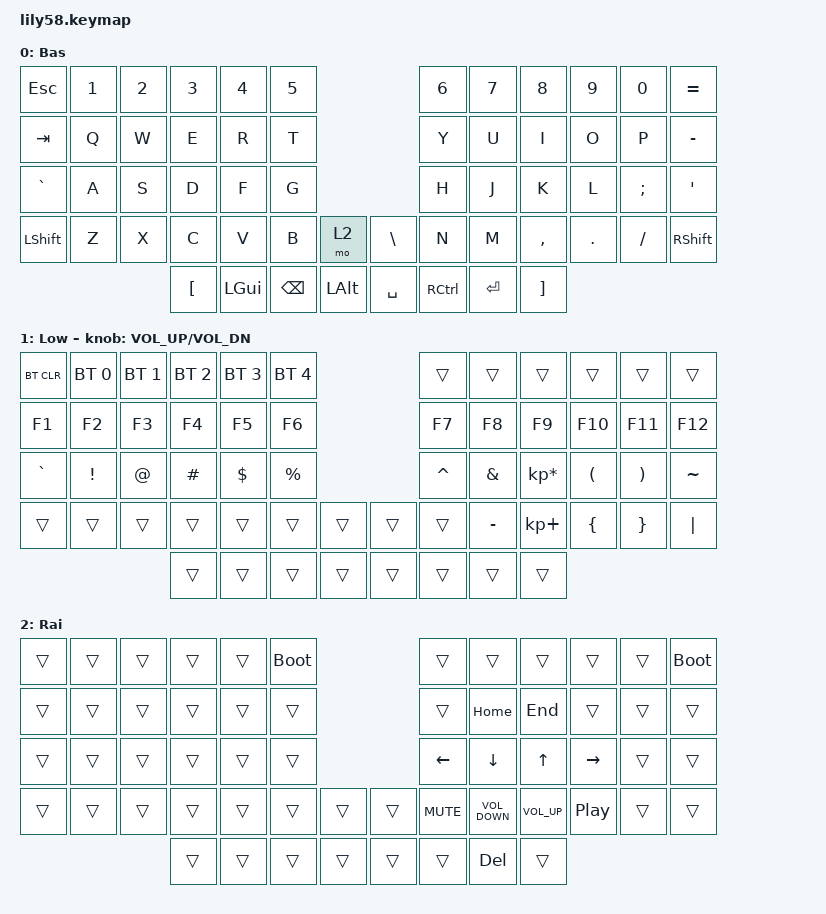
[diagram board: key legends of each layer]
/*
 * Copyright (c) 2020 The ZMK Contributors
 *
 * SPDX-License-Identifier: MIT
 */

#include <behaviors.dtsi>
#include <dt-bindings/zmk/bt.h>
#include <dt-bindings/zmk/keys.h>

/ {
    keymap {
        compatible = "zmk,keymap";

        default_layer {
            // ------------------------------------------------------------------------------------------------------------
            // |  ESC  |  1  |  2  |  3   |  4   |  5   |                   |  6   |  7    |  8    |  9   |   0   |   `   |
            // |  TAB  |  Q  |  W  |  E   |  R   |  T   |                   |  Y   |  U    |  I    |  O   |   P   |   -   |
            // |  CTRL |  A  |  S  |  D   |  F   |  G   |                   |  H   |  J    |  K    |  L   |   ;   |   '   |
            // | SHIFT |  Z  |  X  |  C   |  V   |  B   |   "["  |  |  "]"  |  N   |  M    |  ,    |  .   |   /   | SHIFT |
            //                     | ALT  | GUI  | LOWER|  SPACE |  | ENTER | RAISE| BSPC  | GUI   |

            display-name = "Bas";
            bindings = <
&kp ESC    &kp N1  &kp N2  &kp N3            &kp N4        &kp N5                                        &kp N6     &kp N7     &kp N8             &kp N9   &kp N0    &kp EQUAL
&kp TAB    &kp Q   &kp W   &kp E             &kp R         &kp T                                         &kp Y      &kp U      &kp I              &kp O    &kp P     &kp MINUS
&kp GRAVE  &kp A   &kp S   &kp D             &kp F         &kp G                                         &kp H      &kp J      &kp K              &kp L    &kp SEMI  &kp SQT
&kp LSHFT  &kp Z   &kp X   &kp C             &kp V         &kp B          &mo 2           &kp BACKSLASH  &kp N      &kp M      &kp COMMA          &kp DOT  &kp FSLH  &kp RSHFT
                           &kp LEFT_BRACKET  &kp LEFT_GUI  &kp BACKSPACE  &kp LEFT_ALT    &kp SPACE      &kp RCTRL  &kp ENTER  &kp RIGHT_BRACKET
            >;
        };

        lower_layer {
            // ------------------------------------------------------------------------------------------------------------
            // | BTCLR | BT1 | BT2 |  BT3 |  BT4 |  BT5 |                   |      |       |       |      |       |       |
            // |  F1   |  F2 |  F3 |  F4  |  F5  |  F6  |                   |  F7  |  F8   |  F9   |  F10 |  F11  |  F12  |
            // |   `   |  !  |  @  |  #   |  $   |  %   |                   |  ^   |  &    |  *    |  (   |   )   |   ~   |
            // |       |     |     |      |      |      |        |  |       |      |  _    |  +    |  {   |   }   |  "|"  |
            //                     |      |      |      |        |  |       |      |       |       |

            display-name = "Low";
            bindings = <
&bt BT_CLR  &bt BT_SEL 0  &bt BT_SEL 1  &bt BT_SEL 2  &bt BT_SEL 3  &bt BT_SEL 4                    &trans     &trans     &trans           &trans    &trans    &trans
&kp F1      &kp F2        &kp F3        &kp F4        &kp F5        &kp F6                          &kp F7     &kp F8     &kp F9           &kp F10   &kp F11   &kp F12
&kp GRAVE   &kp EXCL      &kp AT        &kp HASH      &kp DOLLAR    &kp PRCNT                       &kp CARET  &kp AMPS   &kp KP_MULTIPLY  &kp LPAR  &kp RPAR  &kp TILDE
&trans      &trans        &trans        &trans        &trans        &trans        &trans    &trans  &trans     &kp MINUS  &kp KP_PLUS      &kp LBRC  &kp RBRC  &kp PIPE
                                        &trans        &trans        &trans        &trans    &trans  &trans     &trans     &trans
            >;

            sensor-bindings = <&inc_dec_kp C_VOL_UP C_VOL_DN>;
        };

        raise_layer {
            // ------------------------------------------------------------------------------------------------------------
            // |       |     |     |      |      |      |                   |      |       |       |      |       |       |
            // |   `   |  1  |  2  |  3   |  4   |  5   |                   |  6   |   7   |   8   |  9   |   0   |       |
            // |   F1  |  F2 |  F3 |  F4  |  F5  |  F6  |                   |      |   <-  |   v   |  ^   |  ->   |       |
            // |   F7  |  F8 |  F9 |  F10 |  F11 |  F12 |        |  |       |  +   |   -   |   =   |  [   |   ]   |   \   |
            //                     |      |      |      |        |  |       |      |       |       |

            display-name = "Rai";
            bindings = <
&trans  &trans  &trans  &trans  &trans  &bootloader                    &trans      &trans             &trans           &trans            &trans  &bootloader
&trans  &trans  &trans  &trans  &trans  &trans                         &trans      &kp HOME           &kp END          &trans            &trans  &trans
&trans  &trans  &trans  &trans  &trans  &trans                         &kp LEFT    &kp DOWN           &kp UP_ARROW     &kp RIGHT         &trans  &trans
&trans  &trans  &trans  &trans  &trans  &trans       &trans    &trans  &kp K_MUTE  &kp C_VOLUME_DOWN  &kp C_VOLUME_UP  &kp C_PLAY_PAUSE  &trans  &trans
                        &trans  &trans  &trans       &trans    &trans  &trans      &kp DELETE         &trans
            >;
        };

        extra_1 { status = "reserved"; };

        extra_2 { status = "reserved"; };

        extra_3 { status = "reserved"; };
    };
};
